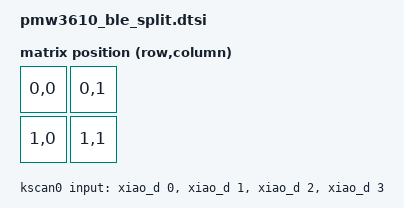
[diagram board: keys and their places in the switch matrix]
/*
 * Shared devicetree for the pmw3610_ble_split shield -- a minimal two-part BLE
 * split for `west zmk-renode-test --mode ble-split`, patterned on
 * zmk-west-commands' renode_split shield.
 *
 * Both halves (pmw3610_ble_split_left = central, pmw3610_ble_split_right =
 * peripheral) include this. Like renode_tester/renode_split it is Studio-ready:
 * a zmk,physical-layout with key_physical_attrs and NO chosen
 * zmk,matrix-transform (CONFIG_ZMK_STUDIO build-asserts on exactly that shape).
 * The 4-key direct kscan / 2x2 transform / 4-key layout all agree in size so
 * the shared keymap compiles for both halves; the emulated split never produces
 * real key events -- this is a boot + pairing + PMW3610-relay test.
 *
 * The real PMW3610 sensor lives ONLY on the peripheral half
 * (pmw3610_ble_split_right.overlay); the central has no local pointing device,
 * only the split RPC relay bridge + Studio.
 */
#include <dt-bindings/zmk/matrix_transform.h>
#include <physical_layouts.dtsi>

/ {
	chosen {
		zmk,kscan = &kscan0;
	};

	kscan0: kscan {
		compatible = "zmk,kscan-gpio-direct";
		input-gpios
			= <&xiao_d 0 (GPIO_ACTIVE_LOW | GPIO_PULL_UP)>
			, <&xiao_d 1 (GPIO_ACTIVE_LOW | GPIO_PULL_UP)>
			, <&xiao_d 2 (GPIO_ACTIVE_LOW | GPIO_PULL_UP)>
			, <&xiao_d 3 (GPIO_ACTIVE_LOW | GPIO_PULL_UP)>
			;
	};

	transform0: keymap_transform {
		compatible = "zmk,matrix-transform";
		columns = <2>;
		rows = <2>;
		map = <
		RC(0,0)  RC(0,1)
		RC(1,0)  RC(1,1)
		>;
	};

	physical_layout0: physical_layout0 {
		compatible = "zmk,physical-layout";
		display-name = "PMW3610";
		transform = <&transform0>;
		keys  /* w   h    x    y   rot  rx  ry */
			= <&key_physical_attrs 100 100   0   0 0 0 0>
			, <&key_physical_attrs 100 100 100   0 0 0 0>
			, <&key_physical_attrs 100 100   0 100 0 0 0>
			, <&key_physical_attrs 100 100 100 100 0 0 0>
			;
	};
};
